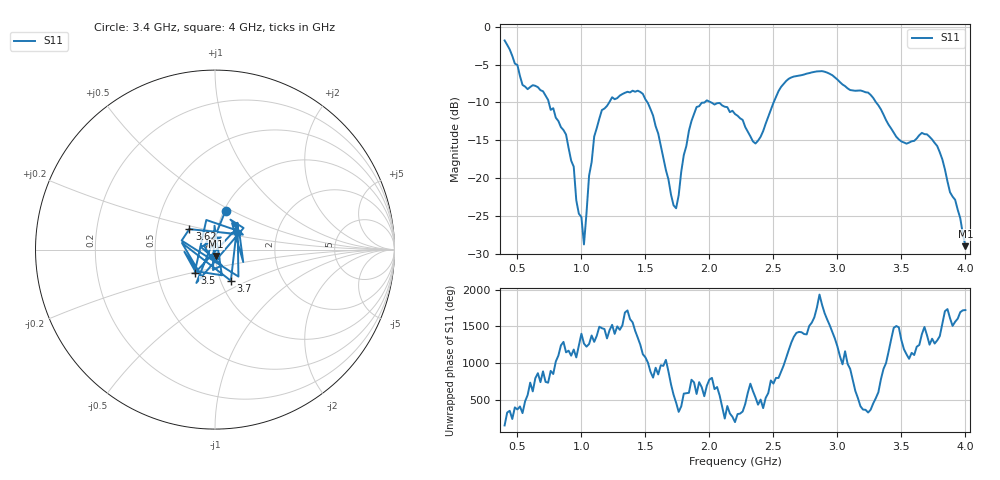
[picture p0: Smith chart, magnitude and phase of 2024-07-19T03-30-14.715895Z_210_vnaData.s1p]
!Created with skrf (http://scikit-rf.org).
# Hz S RI R 50.0
!freq ReS11 ImS11
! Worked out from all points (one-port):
!   181 points, 400 MHz to 4 GHz, reference 50 ohm
!   lowest |S11| = -29.0 dB at 4 GHz (marker M1), VSWR 1.07, Z = 50.5 - j3.55 ohm
!   |S11| at or under -10 dB: 745 MHz to 1.217 GHz (472.3 MHz wide, 48.1 % of centre); 2.013 GHz to 2.502 GHz (488.3 MHz wide, 21.6 % of centre); 3.303 GHz to end of sweep (the widest 3 of 4)
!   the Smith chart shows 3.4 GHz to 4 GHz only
!   S11 on the Smith chart (normalised r, x): 3.4 GHz: 1.02, +0.47; 3.5 GHz: 0.77, -0.21; 3.62 GHz: 0.73, +0.17; 3.7 GHz: 1.12, -0.40; 4 GHz: 1.01, -0.07
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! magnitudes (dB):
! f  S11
! 400 MHz  -1.8
! 540 MHz  -7.7
! 700 MHz  -8.5
! 860 MHz  -13.6
! 940 MHz  -18.5
! 960 MHz  -22.9
! 1.02 GHz  -28.7
! 1.06 GHz  -19.7
! 1.1 GHz  -14.5
! 1.16 GHz  -11.0
! 1.3 GHz  -9.1
! 1.48 GHz  -8.9
! 1.6 GHz  -14.1
! 1.72 GHz  -23.6
! 1.76 GHz  -22.3
! 1.8 GHz  -16.9
! 1.9 GHz  -10.6
! 2.2 GHz  -11.5
! 2.36 GHz  -15.4
! 2.66 GHz  -6.6
! 3.1 GHz  -8.4
! 3.4 GHz  -12.9
! 3.5 GHz  -15.2
! 3.56 GHz  -15.3
! 3.62 GHz  -14.8
! 3.7 GHz  -14.2
! 3.82 GHz  -17.5
! 4 GHz  -29.0
